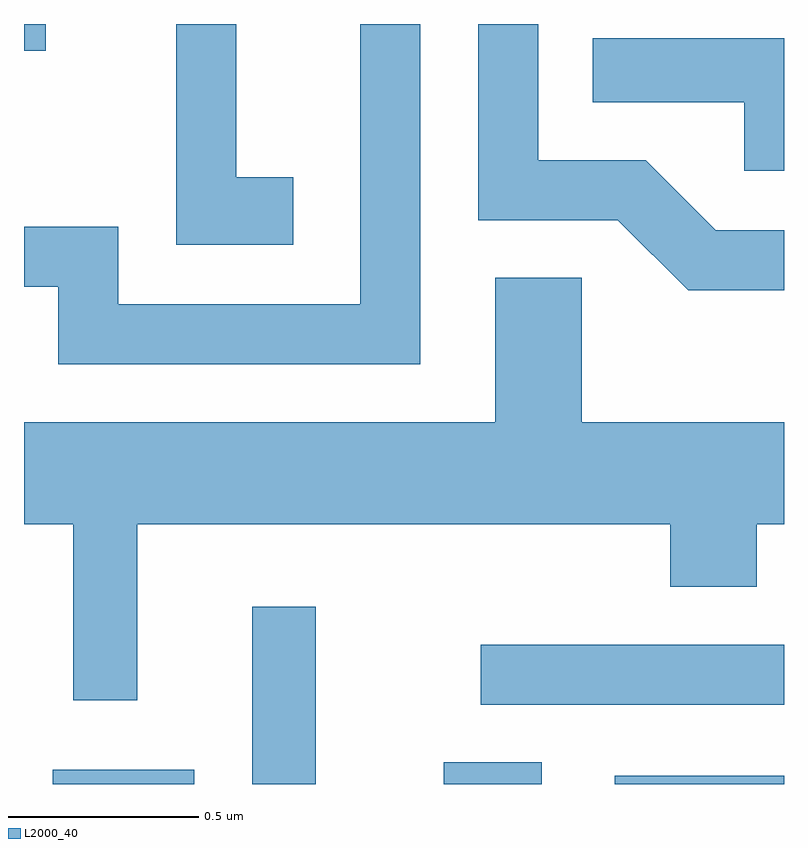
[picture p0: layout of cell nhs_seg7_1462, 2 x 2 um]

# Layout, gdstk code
import gdstk
lib = gdstk.Library(unit=1e-6, precision=1e-09)
def R(c, l, rs):  # rectangles x0, y0, x1, y1
    for r in rs: c.add(gdstk.rectangle(r[:2], r[2:], *l))
def P(c, l, *ps):  # polygons
    for p in ps: c.add(gdstk.Polygon(p, *l))
L2000_40 = (2000, 40)

nhs_seg7_1462 = lib.new_cell('nhs_seg7_1462')
R(nhs_seg7_1462, L2000_40, [(195.686,1760.252,196.059,1760.289), (196.211,1760.252,196.379,1760.718), (196.716,1760.252,196.974,1760.309), (197.166,1760.252,197.611,1760.274), (196.813,1760.461,197.611,1760.619), (195.611,1762.181,195.668,1762.252)])
P(nhs_seg7_1462, L2000_40, [(196.654,1762.252),(196.496,1762.252),(196.496,1761.514),(195.859,1761.514),(195.859,1761.719),(195.611,1761.719),(195.611,1761.561),(195.701,1761.561),(195.701,1761.356),(196.654,1761.356)],
  [(197.611,1761.709),(197.432,1761.709),(197.247,1761.894),(196.964,1761.894),(196.964,1762.252),(196.806,1762.252),(196.806,1761.736),(197.174,1761.736),(197.359,1761.551),(197.611,1761.551)],
  [(196.319,1761.849),(196.169,1761.849),(196.169,1762.252),(196.011,1762.252),(196.011,1761.671),(196.319,1761.671)],
  [(197.611,1762.214),(197.108,1762.214),(197.108,1762.046),(197.506,1762.046),(197.506,1761.866),(197.611,1761.866)],
  [(195.909,1760.936),(197.311,1760.936),(197.311,1760.771),(197.539,1760.771),(197.539,1760.936),(197.611,1760.936),(197.611,1761.204),(197.079,1761.204),(197.079,1761.584),(196.851,1761.584),(196.851,1761.204),(195.611,1761.204),(195.611,1760.936),(195.741,1760.936),(195.741,1760.473),(195.909,1760.473)])

lib.write_gds('nhs_seg7_1462.gds')
